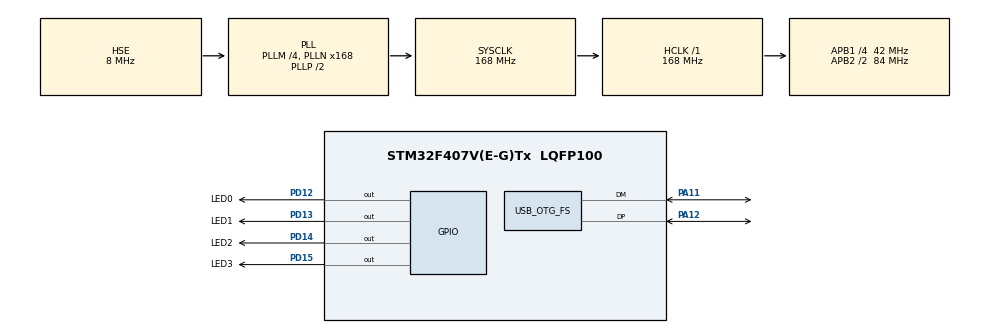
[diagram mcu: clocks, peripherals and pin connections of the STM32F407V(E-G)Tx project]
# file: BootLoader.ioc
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Mcu.Family=STM32F4
Mcu.Name=STM32F407V(E-G)Tx
Mcu.Package=LQFP100
NVIC.OTG_FS_IRQn=true\:0\:0\:false\:false\:true\:false\:true\:true
NVIC.PriorityGroup=NVIC_PRIORITYGROUP_4
PA11.Mode=Device_Only
PA11.Signal=USB_OTG_FS_DM
PA12.Mode=Device_Only
PA12.Signal=USB_OTG_FS_DP
PD12.GPIO_Label=LED0
PD12.Signal=GPIO_Output
PD13.GPIO_Label=LED1
PD13.Signal=GPIO_Output
PD14.GPIO_Label=LED2
PD14.Signal=GPIO_Output
PD15.GPIO_Label=LED3
PD15.Signal=GPIO_Output
PH0-OSC_IN.Mode=HSE-External-Oscillator
PH0-OSC_IN.Signal=RCC_OSC_IN
PH1-OSC_OUT.Mode=HSE-External-Oscillator
PH1-OSC_OUT.Signal=RCC_OSC_OUT
ProjectManager.HeapSize=0x200
ProjectManager.StackSize=0x400
ProjectManager.TargetToolchain=STM32CubeIDE
RCC.48MHZClocksFreq_Value=48000000
RCC.AHBFreq_Value=168000000
RCC.APB1CLKDivider=RCC_HCLK_DIV4
RCC.APB1Freq_Value=42000000
RCC.APB1TimFreq_Value=84000000
RCC.APB2CLKDivider=RCC_HCLK_DIV2
RCC.APB2Freq_Value=84000000
RCC.APB2TimFreq_Value=168000000
RCC.CortexFreq_Value=168000000
RCC.HCLKFreq_Value=168000000
RCC.HSE_VALUE=8000000
RCC.HSI_VALUE=16000000
RCC.LSE_VALUE=32768
RCC.PLLM=4
RCC.PLLN=168
RCC.PLLQ=7
RCC.SYSCLKFreq_VALUE=168000000
RCC.SYSCLKSource=RCC_SYSCLKSOURCE_PLLCLK
RCC.VCOOutputFreq_Value=336000000
USB_DEVICE.CLASS_NAME_FS=CDC
USB_DEVICE.VirtualMode-CDC_FS=Cdc
USB_DEVICE.VirtualModeFS=Cdc_FS
USB_OTG_FS.VirtualMode=Device_Only
VP_USB_DEVICE_VS_USB_DEVICE_CDC_FS.Mode=CDC_FS
board=custom

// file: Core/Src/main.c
/* USER CODE BEGIN Header */
/**
  ******************************************************************************
  * @file           : main.c
  * @brief          : Main program body
  ******************************************************************************
  * @attention
  *
  * Copyright (c) 2024 STMicroelectronics.
  * All rights reserved.
  *
  * This software is licensed under terms that can be found in the LICENSE file
  * in the root directory of this software component.
  * If no LICENSE file comes with this software, it is provided AS-IS.
  *
  ******************************************************************************
  */
/* USER CODE END Header */
#include "main.h"
#include "usb_device.h"
#include "gpio.h"

/* USER CODE BEGIN PM */
#define MAJOR 0   // BL Major version Number
#define MINOR 1   // BL Minor version Number
/* USER CODE END PM */

/* USER CODE BEGIN PV */
const uint8_t BL_Version[2] = { MAJOR, MINOR };

/* USER CODE END PV */

void SystemClock_Config(void);
/* USER CODE BEGIN PFP */
static void goto_application( void );

/* USER CODE END PFP */

int main(void)
{

  /* MCU Configuration--------------------------------------------------------*/

  /* Reset of all peripherals, Initializes the Flash interface and the Systick. */
  HAL_Init();

  /* Configure the system clock */
  SystemClock_Config();

  /* Initialize all configured peripherals */
  MX_GPIO_Init();
  MX_USB_DEVICE_Init();

  /* Infinite loop */
  /* USER CODE BEGIN WHILE */
  while (1)
  {
	  for (int i = 0; i < 10; ++i)
	  {
		  HAL_GPIO_TogglePin(LED0_GPIO_Port,LED0_Pin);
		  HAL_Delay(300);
	  }
	  goto_application();
    /* USER CODE END WHILE */

  }
}

void SystemClock_Config(void)
{
  RCC_OscInitTypeDef RCC_OscInitStruct = {0};
  RCC_ClkInitTypeDef RCC_ClkInitStruct = {0};

  /** Configure the main internal regulator output voltage
  */
  __HAL_RCC_PWR_CLK_ENABLE();
  __HAL_PWR_VOLTAGESCALING_CONFIG(PWR_REGULATOR_VOLTAGE_SCALE1);

  /** Initializes the RCC Oscillators according to the specified parameters
  * in the RCC_OscInitTypeDef structure.
  */
  RCC_OscInitStruct.OscillatorType = RCC_OSCILLATORTYPE_HSE;
  RCC_OscInitStruct.HSEState = RCC_HSE_ON;
  RCC_OscInitStruct.PLL.PLLState = RCC_PLL_ON;
  RCC_OscInitStruct.PLL.PLLSource = RCC_PLLSOURCE_HSE;
  RCC_OscInitStruct.PLL.PLLM = 4;
  RCC_OscInitStruct.PLL.PLLN = 168;
  RCC_OscInitStruct.PLL.PLLP = RCC_PLLP_DIV2;
  RCC_OscInitStruct.PLL.PLLQ = 7;
  if (HAL_RCC_OscConfig(&RCC_OscInitStruct) != HAL_OK)
  {
    Error_Handler();
  }

  /** Initializes the CPU, AHB and APB buses clocks
  */
  RCC_ClkInitStruct.ClockType = RCC_CLOCKTYPE_HCLK|RCC_CLOCKTYPE_SYSCLK
                              |RCC_CLOCKTYPE_PCLK1|RCC_CLOCKTYPE_PCLK2;
  RCC_ClkInitStruct.SYSCLKSource = RCC_SYSCLKSOURCE_PLLCLK;
  RCC_ClkInitStruct.AHBCLKDivider = RCC_SYSCLK_DIV1;
  RCC_ClkInitStruct.APB1CLKDivider = RCC_HCLK_DIV4;
  RCC_ClkInitStruct.APB2CLKDivider = RCC_HCLK_DIV2;

  if (HAL_RCC_ClockConfig(&RCC_ClkInitStruct, FLASH_LATENCY_5) != HAL_OK)
  {
    Error_Handler();
  }
}

/* USER CODE BEGIN 4 */
/**
  * @brief Jump to application from the Bootloader
  * @retval None
  */
static void goto_application(void)
{
  //printf("Gonna Jump to Application\n");
  void (*app_reset_handler)(void) = (void*)(*((volatile uint32_t*) (0x08040000 + 4U)));
  //__set_MSP(*(volatile uint32_t*) 0x08040000);
  // Turn OFF the Green Led to tell the user that Bootloader is not running
  HAL_GPIO_WritePin(LED0_GPIO_Port, LED0_Pin, GPIO_PIN_RESET );    //Green LED OFF

  /* Reset the Clock */
  HAL_RCC_DeInit();
  HAL_DeInit();
  __set_MSP(*(volatile uint32_t*) 0x08040000);
  SysTick->CTRL = 0;
  SysTick->LOAD = 0;
  SysTick->VAL = 0;
  /* Jump to application */
  app_reset_handler();    //call the app reset handler
}
/* USER CODE END 4 */

void Error_Handler(void)
{
  __disable_irq();
  while (1)
  {
  }
}
